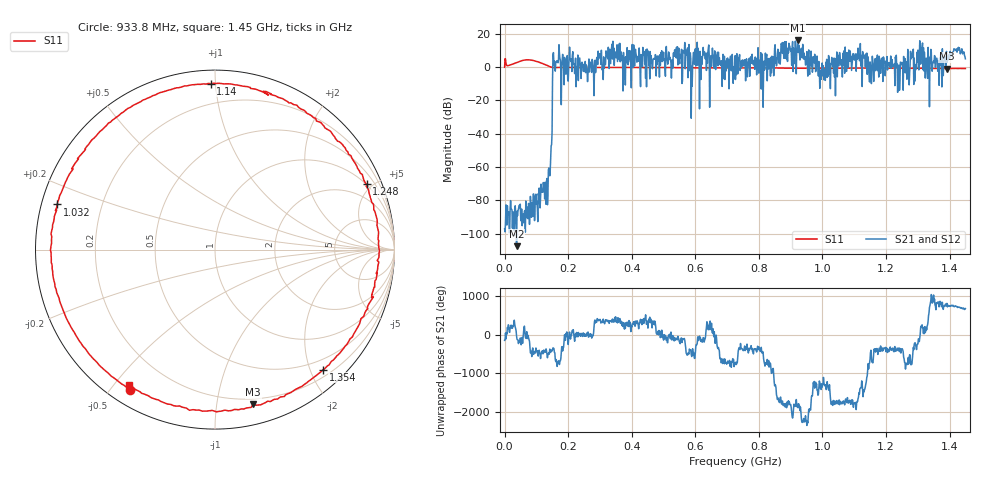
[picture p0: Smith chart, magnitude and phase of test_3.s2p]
! Created with skrf 1.11.0 (http://scikit-rf.org).
# Hz S RI R 50.0
!freq ReS11 ImS11 ReS21 ImS21 ReS12 ImS12 ReS22 ImS22
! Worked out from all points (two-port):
!   1001 points, 50 kHz to 1.45 GHz, reference 50 ohm
!   highest |S21| = 15.87 dB at 922.2 MHz (marker M1); lowest = -107.4 dB at 37.75 MHz (marker M2)
!   |S21| within 3 dB of the highest: 869.8398 MHz to 873.2753 MHz (3.435 MHz wide, 0.394 % of centre); 880.0806 MHz to 881.9517 MHz (1.871 MHz wide, 0.212 % of centre) (the widest 2 of 26)
!   lowest |S11| = -1.0 dB at 1.392 GHz (marker M3), VSWR 16.95, Z = 7.71 - j63.2 ohm
!   |S11| at or under -10 dB: nowhere
!   |S22| runs from - to - dB; largest |S21 - S12| = 0
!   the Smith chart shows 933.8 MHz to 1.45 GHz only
!   S11 on the Smith chart (normalised r, x): 933.8 MHz: 0.06, -0.56; 1.032 GHz: 0.05, +0.14; 1.14 GHz: 0.08, +0.97; 1.248 GHz: 0.99, +4.65; 1.354 GHz: 0.31, -2.21; 1.45 GHz: 0.07, -0.55
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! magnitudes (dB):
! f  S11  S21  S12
! 50 kHz  -0.2  -97.1  -97.1
! 37.75 MHz  2.7  -107.4  -107.4
! 136.3 MHz  0.7  -77.0  -77.0
! 142.1 MHz  0.2  -65.3  -65.3
! 159.5 MHz  -0.3  -2.5  -2.5
! 242.2 MHz  -0.3  1.9  1.9
! 342.2 MHz  -0.3  8.7  8.7
! 377 MHz  -0.3  -0.4  -0.4
! 484.3 MHz  -0.4  3.6  3.6
! 725 MHz  -0.6  6.7  6.7
! 922.2 MHz  -0.8  15.9  15.9
! 933.8 MHz  -0.8  11.2  11.2
! 967.2 MHz  -0.8  5.9  5.9
! 1.032 GHz  -0.8  0.6  0.6
! 1.14 GHz  -0.7  8.3  8.3
! 1.209 GHz  -0.8  2.6  2.6
! 1.248 GHz  -0.7  2.3  2.3
! 1.308 GHz  -0.8  13.4  13.4
! 1.33 GHz  -0.9  -0.8  -0.8
! 1.354 GHz  -0.9  6.1  6.1
! 1.392 GHz  -1.0  2.8  2.8
! 1.45 GHz  -1.0  4.9  4.9
